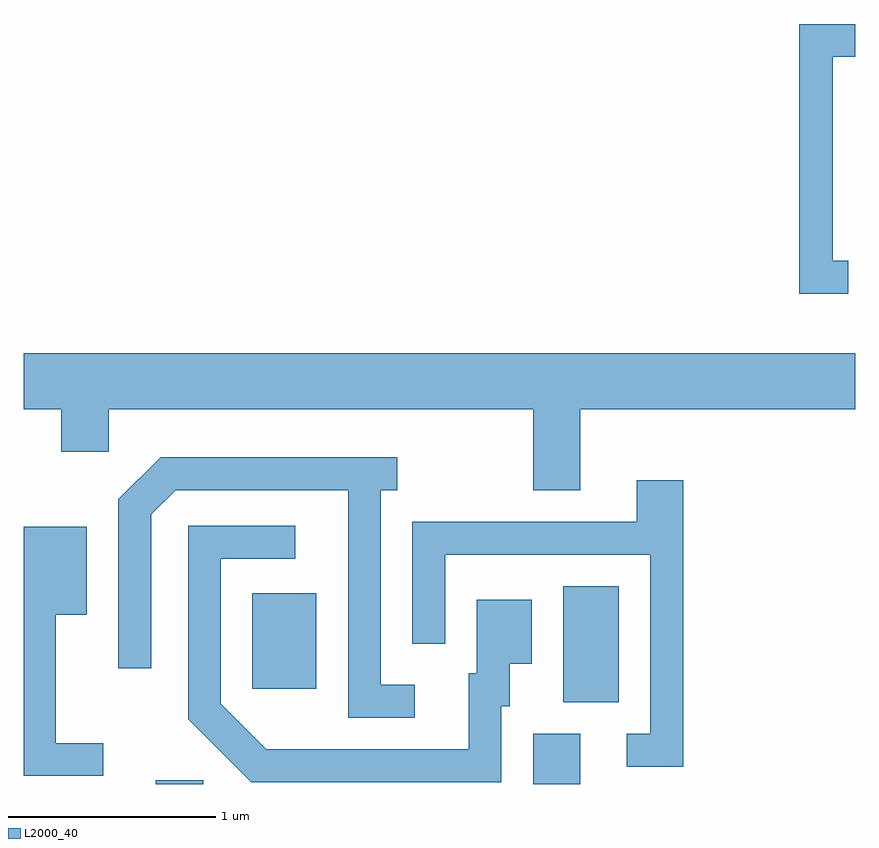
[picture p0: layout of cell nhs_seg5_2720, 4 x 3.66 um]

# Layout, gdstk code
import gdstk
lib = gdstk.Library(unit=1e-6, precision=1e-09)
def R(c, l, rs):  # rectangles x0, y0, x1, y1
    for r in rs: c.add(gdstk.rectangle(r[:2], r[2:], *l))
def P(c, l, *ps):  # polygons
    for p in ps: c.add(gdstk.Polygon(p, *l))
L2000_40 = (2000, 40)

nhs_seg5_2720 = lib.new_cell('nhs_seg5_2720')
R(nhs_seg5_2720, L2000_40, [(266.246,1486.072,266.474,1486.089), (268.061,1486.072,268.289,1486.314), (268.206,1486.466,268.474,1487.024), (266.711,1486.531,267.019,1486.989)])
P(nhs_seg5_2720, L2000_40, [(269.578,1488.589),(269.504,1488.589),(269.504,1489.571),(269.611,1489.571),(269.611,1489.729),(269.341,1489.729),(269.341,1488.431),(269.578,1488.431)],
  [(268.289,1487.876),(269.611,1487.876),(269.611,1488.144),(265.611,1488.144),(265.611,1487.876),(265.791,1487.876),(265.791,1487.671),(266.019,1487.671),(266.019,1487.876),(268.061,1487.876),(268.061,1487.486),(268.289,1487.486)],
  [(267.493,1486.549),(267.329,1486.549),(267.329,1487.486),(267.408,1487.486),(267.408,1487.644),(266.269,1487.644),(266.066,1487.442),(266.066,1486.628),(266.224,1486.628),(266.224,1487.369),(266.342,1487.486),(267.171,1487.486),(267.171,1486.391),(267.493,1486.391)],
  [(268.784,1487.534),(268.561,1487.534),(268.561,1487.334),(267.481,1487.334),(267.481,1486.748),(267.639,1486.748),(267.639,1487.176),(268.626,1487.176),(268.626,1486.314),(268.513,1486.314),(268.513,1486.156),(268.784,1486.156)],
  [(267.909,1486.446),(267.949,1486.446),(267.949,1486.651),(268.054,1486.651),(268.054,1486.959),(267.791,1486.959),(267.791,1486.604),(267.751,1486.604),(267.751,1486.239),(266.777,1486.239),(266.559,1486.457),(266.559,1487.156),(266.918,1487.156),(266.918,1487.314),(266.401,1487.314),(266.401,1486.384),(266.704,1486.081),(267.909,1486.081)],
  [(265.993,1486.269),(265.764,1486.269),(265.764,1486.886),(265.914,1486.886),(265.914,1487.309),(265.611,1487.309),(265.611,1486.111),(265.993,1486.111)])

lib.write_gds('nhs_seg5_2720.gds')
